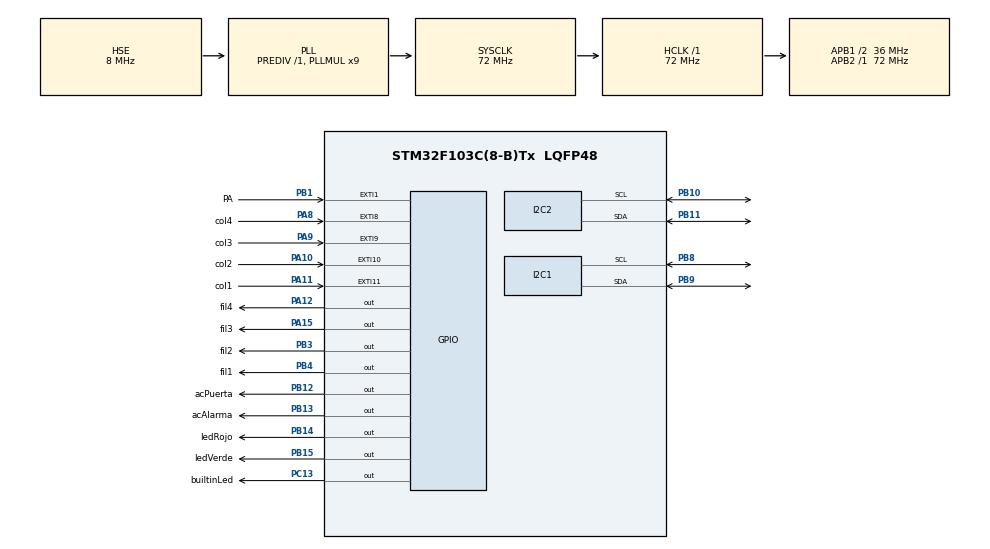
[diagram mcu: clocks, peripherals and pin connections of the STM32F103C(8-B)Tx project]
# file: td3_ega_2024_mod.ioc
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Mcu.Family=STM32F1
PB10.Mode=I2C
PA10.GPIO_PuPd=GPIO_PULLUP
PB14.GPIO_Label=ledRojo
NVIC.TIM1_UP_IRQn=true\:0\:0\:false\:false\:true\:false\:true
PA11.GPIO_PuPd=GPIO_PULLUP
PB13.GPIO_Label=acAlarma
PB11.Signal=I2C2_SDA
PB13.Signal=GPIO_Output
PB15.Signal=GPIO_Output
RCC.SYSCLKSource=RCC_SYSCLKSOURCE_PLLCLK
ProjectManager.StackSize=0x400
PD1-OSC_OUT.Signal=RCC_OSC_OUT
PA15.GPIO_Label=fil3
NVIC.EXTI1_IRQn=true\:8\:0\:true\:false\:true\:true\:true
PA12.Signal=GPIO_Output
PB3.PinState=GPIO_PIN_RESET
PB1.GPIO_PuPd=GPIO_PULLDOWN
RCC.HCLKFreq_Value=72000000
RCC.APB2TimFreq_Value=72000000
PB1.GPIO_ModeDefaultEXTI=GPIO_MODE_IT_FALLING
RCC.AHBFreq_Value=72000000
NVIC.EXTI15_10_IRQn=true\:8\:0\:true\:false\:true\:true\:true
PA12.PinState=GPIO_PIN_RESET
RCC.PLLMUL=RCC_PLL_MUL9
PB12.GPIO_Label=acPuerta
PA14.Mode=Serial_Wire
VP_SYS_VS_tim1.Mode=TIM1
PB1.GPIO_Label=PA
NVIC.TIM2_IRQn=true\:8\:0\:true\:false\:true\:true\:true
PA10.GPIO_Label=col2
PA8.Signal=GPXTI8
PB9.Signal=I2C1_SDA
Mcu.Package=LQFP48
TIM2.Prescaler=10000
PB1.Signal=GPXTI1
NVIC.TimeBase=TIM1_UP_IRQn
PA8.GPIO_ModeDefaultEXTI=GPIO_MODE_IT_FALLING
PA10.GPIO_ModeDefaultEXTI=GPIO_MODE_IT_FALLING
NVIC.TimeBaseIP=TIM1
PA10.Signal=GPXTI10
PA15.Signal=GPIO_Output
RCC.APB1TimFreq_Value=72000000
PB4.Signal=GPIO_Output
PB3.GPIO_Label=fil2
RCC.PLLSourceVirtual=RCC_PLLSOURCE_HSE
PD1-OSC_OUT.Mode=HSE-External-Oscillator
PA9.GPIO_Label=col3
PC13-TAMPER-RTC.Signal=GPIO_Output
PA11.GPIO_Label=col1
PD0-OSC_IN.Signal=RCC_OSC_IN
RCC.APB1CLKDivider=RCC_HCLK_DIV2
PA9.GPIO_PuPd=GPIO_PULLUP
PA12.GPIO_Label=fil4
RCC.ADCPresc=RCC_ADCPCLK2_DIV6
I2C2.OwnAddress=0x15
PA13.Signal=SYS_JTMS-SWDIO
PA8.GPIO_Label=col4
PB11.Mode=I2C
ProjectManager.TargetToolchain=STM32CubeIDE
PB9.Mode=I2C
PA9.Signal=GPXTI9
NVIC.I2C2_ER_IRQn=true\:8\:0\:true\:false\:true\:true\:true
RCC.USBFreq_Value=72000000
PB10.Signal=I2C2_SCL
PD0-OSC_IN.Mode=HSE-External-Oscillator
PB14.Signal=GPIO_Output
board=custom
PC13-TAMPER-RTC.GPIO_Label=builtinLed
PA15.PinState=GPIO_PIN_RESET
RCC.APB2Freq_Value=72000000
PB4.GPIO_Label=fil1
PB15.GPIO_Label=ledVerde
VP_TIM2_VS_ClockSourceINT.Mode=Internal
TIM2.Period=65000
PA13.Mode=Serial_Wire
Mcu.Name=STM32F103C(8-B)Tx
PB3.Signal=GPIO_Output
RCC.SYSCLKFreq_VALUE=72000000
PA11.Signal=GPXTI11
NVIC.EXTI9_5_IRQn=true\:8\:0\:true\:false\:true\:true\:true
PA14.Signal=SYS_JTCK-SWCLK
ProjectManager.HeapSize=0x200
NVIC.I2C2_EV_IRQn=true\:8\:0\:true\:false\:true\:true\:true
PA8.GPIO_PuPd=GPIO_PULLUP
NVIC.PriorityGroup=NVIC_PRIORITYGROUP_4
PB8.Mode=I2C
PA9.GPIO_ModeDefaultEXTI=GPIO_MODE_IT_FALLING
PB8.Signal=I2C1_SCL
PA11.GPIO_ModeDefaultEXTI=GPIO_MODE_IT_FALLING
RCC.APB1Freq_Value=36000000
PB12.Signal=GPIO_Output

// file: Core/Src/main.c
/* USER CODE BEGIN Header */
/* USER CODE END Header */
#include "main.h"

/* USER CODE BEGIN Includes */

#include "FreeRTOS.h"
#include "task.h"
#include "queue.h"
#include "semphr.h"

#include "liquidcrystal_i2c.h"
#include "FLASH_PAGE_F1.h"

#include <stdio.h>
#include <math.h>
#include <string.h>
#include "common.h"

#include <stdlib.h>
#include "menu.h"

#define EGB  //para habilitar las partes de código de la EGB, descomentar esta linea
//#define SONIDO_ACTIVADO

#ifdef EGB
#include "i2c_slave_bluepill.h"
#endif
/* USER CODE END Includes */

/* USER CODE BEGIN PD */
#ifdef EGB
#define MAX_VARIABLES	32
#define MAX_LOG_STRING	4
#define i2cFRAME_SIZE	22
#endif

#define prioridad_tMenu				1
#define prioridad_tTeclado			2
#define prioridad_tDisplay			1
#define prioridad_tFlash			2
#define prioridad_tControlAcceso	1
#define prioridad_tActuadores		3
#ifdef EGB
#define prioridad_tComextern		1
#define prioridad_tLedBlink			4
#endif

//el analisis de HighWaterMarks se hizo con el programa EGA
#define tMenu_STACK_SIZE					configMINIMAL_STACK_SIZE * 5 //con configMINIMAL_STACK_SIZE * 4 queda 71 libres
#define tTeclado_STACK_SIZE					configMINIMAL_STACK_SIZE  //con configMINIMAL_STACK_SIZE quedan 70 libres
#define tDisplay_STACK_SIZE					configMINIMAL_STACK_SIZE  //con configMINIMAL_STACK_SIZE quedan 33 libres
#define tFlash_STACK_SIZE					configMINIMAL_STACK_SIZE  //con configMINIMAL_STACK_SIZE queda 44 libres
#define tControlAcceso_STACK_SIZE			configMINIMAL_STACK_SIZE * 2  //con configMINIMAL_STACK_SIZE quedan 35 libres
#define tActuadores_STACK_SIZE				configMINIMAL_STACK_SIZE  //con configMINIMAL_STACK_SIZE quedan 85 libres
#ifdef EGB
#define tComextern_STACK_SIZE				configMINIMAL_STACK_SIZE * 5//configMINIMAL_STACK_SIZE
#define tLedBlink_STACK_SIZE				configMINIMAL_STACK_SIZE * 2
#endif

#define SIN_INTENTOS_DISP			0
#define CANT_MAX_INTENTOS			3
#define CANT_MAX_USUARIOS			11

#define	PAGE_ADDR_1					0x0801FC00
#define FLASH_BUFFER_SIZE 			32

/* USER CODE END PD */

I2C_HandleTypeDef hi2c1;
I2C_HandleTypeDef hi2c2;

TIM_HandleTypeDef htim2;

/* USER CODE BEGIN PV */
TaskHandle_t tMenu_h = NULL, tDisplay_h = NULL, tFlash_h = NULL, tTeclado_h = NULL, tControlAcceso_h = NULL
		, tActuadores_h = NULL;

#ifdef EGB
TaskHandle_t tComextern_h = NULL, tLedBlink_h = NULL;
QueueHandle_t actuador_aux_q, reqAcceso_aux_q, respAcceso_aux_q;
QueueHandle_t i2c_rx_q, i2c_tx_q = NULL;

typedef struct{
	uint8_t status;
	accion_t accion;
	uint8_t strLog[txBUFFER_SIZE];
}log_t;
#endif

QueueHandle_t columna_q, tecla_q, display_q, actuador_q, reqAcceso_q, respAcceso_q, flashcmd_q, flashdata_q;
SemaphoreHandle_t acAlarma_s = NULL, acPuerta_s = NULL, sensor_s = NULL;

//#ifdef EGB
//char com_tx_buffer[256];
//uint32_t buffer_index = 0;
//#endif

/* USER CODE END PV */

void SystemClock_Config(void);
static void MX_GPIO_Init(void);
static void MX_I2C1_Init(void);
static void MX_TIM2_Init(void);
static void MX_I2C2_Init(void);
/* USER CODE BEGIN PFP */
static void err (uint8_t errCode);
void display_Print(uint8_t accion, char *linea1, char *linea2);
//declaraciones de menu
void ME_conteo_digitos();
static void dummyDataMemoryRecording (void);

#ifdef EGB
static uint8_t parse_csv_to_struct(const char *input, usuario_t *usuario, actuador_t *actuador, log_t *log);
#endif

/* USER CODE END PFP */

/* USER CODE BEGIN 0 */
static void dummyDataMemoryRecording (void){
	uint32_t bufferAux[FLASH_BUFFER_SIZE];

	bufferAux[0] = 0;
	bufferAux[1] = 87654321;
	bufferAux[2] = 1;
	bufferAux[3] = 1111;

	for(uint32_t j = 2; j < (CANT_MAX_USUARIOS); j++){
		bufferAux[(2*j)] = j;
		bufferAux[(2*j)+1] = 0;
	}
	Flash_Write_Data(PAGE_ADDR_1, bufferAux, FLASH_BUFFER_SIZE);
}

void display_Print(uint8_t accion, char *linea1, char *linea2){
	display_t display;

	display.accion = accion;
	strcpy(display.linea1, linea1);
	strcpy(display.linea2, linea2);
	xQueueSend(display_q, &display, blockForever);
}

//menu----------------------------------------------------------------------------------------------------------------------------------------------------------------------

static void t_Menu (void *pvParameters){
	struct level claveUsuario1, claveUsuario2, claveUsuario3, claveUsuario4, claveUsuario5, claveUsuario6,
	 	 	 	 	 claveUsuario7, claveUsuario8, claveUsuario9, claveUsuario10,
					claveMaestra, agregarUsuario, borrarUsuario, resetFabrica, menu, *currentM;

	UBaseType_t uxHighWaterMark;
	uxHighWaterMark = uxTaskGetStackHighWaterMark( NULL );

	usuario_t usuario[CANT_MAX_USUARIOS];

	uint32_t i;
#ifdef EGB
	vTaskSuspend(tComextern_h);
#endif
	for(i = 0; i < CANT_MAX_USUARIOS; i++){
		usuario[i].clave = 0;
		usuario[i].nroUsuario = i;
		usuario[i].accion = SCANN;

		xQueueSendToBack(reqAcceso_q, &usuario[i], blockForever);
		xQueueReceive(respAcceso_q, &usuario[i], blockForever);
	}

#ifdef EGB
	xQueueReset(reqAcceso_aux_q);
	xQueueReset(respAcceso_aux_q);
	xQueueReset(actuador_aux_q);
	vTaskResume(tComextern_h);
#endif
	//BuildMenu(nodoActual, nroUsuario, imprimir1, imprimir2, funcCancelar, funcAceptar, nodoArriba, nodoAbajo, nodoMaestra, nodoCancelar, nodoAceptar, nodoMenu, lastMenu)

    MEN_BuildMenu(&claveUsuario1, 	USUARIO_1,	"USUARIO 1", ">>>", 	&claveUsuario10, &claveUsuario2, &claveMaestra, &claveUsuario1, 0, &menu, 0);
    MEN_BuildMenu(&claveUsuario2, 	USUARIO_2,	"USUARIO 2", ">>>", 	&claveUsuario1, &claveUsuario3, &claveMaestra, &claveUsuario1, 0, &menu, 0);
    MEN_BuildMenu(&claveUsuario3, 	USUARIO_3,	"USUARIO 3", ">>>", 	&claveUsuario2, &claveUsuario4, &claveMaestra, &claveUsuario1, 0, &menu, 0);
    MEN_BuildMenu(&claveUsuario4, 	USUARIO_4,	"USUARIO 4", ">>>", 	&claveUsuario3, &claveUsuario5, &claveMaestra, &claveUsuario1, 0, &menu, 0);
    MEN_BuildMenu(&claveUsuario5, 	USUARIO_5,	"USUARIO 5", ">>>", 	&claveUsuario4, &claveUsuario6, &claveMaestra, &claveUsuario1, 0, &menu, 0);
    MEN_BuildMenu(&claveUsuario6, 	USUARIO_6,	"USUARIO 6", ">>>", 	&claveUsuario5, &claveUsuario7, &claveMaestra, &claveUsuario1, 0, &menu, 0);
    MEN_BuildMenu(&claveUsuario7, 	USUARIO_7,	"USUARIO 7", ">>>", 	&claveUsuario6, &claveUsuario8, &claveMaestra, &claveUsuario1, 0, &menu, 0);
    MEN_BuildMenu(&claveUsuario8, 	USUARIO_8,	"USUARIO 8", ">>>", 	&claveUsuario7, &claveUsuario9, &claveMaestra, &claveUsuario1, 0, &menu, 0);
    MEN_BuildMenu(&claveUsuario9, 	USUARIO_9,	"USUARIO 9", ">>>", 	&claveUsuario8, &claveUsuario10, &claveMaestra, &claveUsuario1, 0, &menu, 0);
    MEN_BuildMenu(&claveUsuario10, USUARIO_10, "USUARIO 10", ">>>", 	&claveUsuario9, &claveUsuario1, &claveMaestra, &claveUsuario1, 0, &menu, 0);
    MEN_BuildMenu(&claveMaestra, 			0,"CLAVE MAESTRA", ">>>", 	0, 			   0, 			  0, &claveUsuario1, 0, &menu, 0);
    MEN_BuildMenu(&menu,		 			0,"MENU CONFIG.", "<<< >>>",&borrarUsuario, &agregarUsuario, 			  0, &claveUsuario1, 0, 	0, 0);
    MEN_BuildMenu(&agregarUsuario, 			11,"AGREGAR USUARIO", ">>>",&borrarUsuario, &borrarUsuario, 			  0, &claveUsuario1, 0, 	0, 0);
    MEN_BuildMenu(&borrarUsuario, 			12,"BORRAR USUARIO", ">>>",	&agregarUsuario, &agregarUsuario, 		  0, &claveUsuario1, 0, 	0, 0);
    MEN_BuildMenu(&resetFabrica, 			13,"RESET FABRICA", ">>>", 	&agregarUsuario, &borrarUsuario, 			  0, &claveUsuario1, 0, 	0, 0);

	char lcdStr[16] = ">>>";
	uint32_t claveIngresada = 0, contDig = 0;
	lcd_init(lcdSize);

    currentM = &claveUsuario1;
    MEN_Last(&currentM);
	display_Print(CLEAR_PRINT, currentM->row1, currentM->row2);

    tecla_t tecla;

	for(;;){
		xQueueReceive(tecla_q, &tecla, blockForever);
		switch(tecla.accion){
			case NUM:

				if(contDig < 8){
					claveIngresada += tecla.tecla * pow(10, contDig);
					contDig++;
					strcat(lcdStr,"*");
				}
				else
					display_Print(TEMPORARY_PRINTING, '\0', "ERROR 5");

				display_Print(PRINT, '\0', lcdStr);
				break;
			case ARRIBA:
				MEN_Prev(&currentM);
				if(usuario[currentM->userNo].accion == ACC_SIN_ASIGNAR)
					display_Print(CLEAR_PRINT, currentM->row1, "Sin asignar");
				else display_Print(CLEAR_PRINT, currentM->row1, currentM->row2);
				if(menu.privilege == MASTER)
					currentM->last = &borrarUsuario;
				reset_values();
				break;

			case ABAJO:
				MEN_Next(&currentM);
				if(usuario[currentM->userNo].accion == ACC_SIN_ASIGNAR)
					display_Print(CLEAR_PRINT, currentM->row1, "Sin asignar");
				else display_Print(CLEAR_PRINT, currentM->row1, currentM->row2);
				if(menu.privilege == MASTER)
					currentM->last = &borrarUsuario;
				reset_values();
				break;

			case MENU:
				MEN_Maestra(&currentM);
				currentM->last = &menu;
				display_Print(TEMPORARY_PRINTING, "MENU CONFIG.", 0);
				display_Print(CLEAR_PRINT, currentM->row1, currentM->row2);
				reset_values();
				break;

			case ACEPTAR:

				if((currentM == &claveUsuario1 || currentM == &claveUsuario2 || currentM == &claveUsuario3 || currentM == &claveUsuario4 || currentM == &claveMaestra) && menu.privilege == USER){
					if(currentM->userNo == 0){
						//clave maestra
						if(contDig != 8) display_Print(TEMPORARY_PRINTING, 0, "Error de digitos");
						else{
							//cantidad correcta de digitos
							usuario[currentM->userNo].clave = claveIngresada;
							usuario[currentM->userNo].accion = READ;

							xQueueSendToBack(reqAcceso_q, &usuario[currentM->userNo], blockForever);
#ifdef EGB
							xQueueSendToBack(reqAcceso_aux_q, &usuario[currentM->userNo], nonBlocking);
#endif
							xQueueReceive(respAcceso_q, &usuario[currentM->userNo], blockForever);
							reset_values();

							switch(usuario[currentM->userNo].accion){
								case ACC_OK:
									if(currentM->last == &menu){
										MEN_Menu(&currentM);
										display_Print(CLEAR_PRINT, currentM->row1, currentM->row2);

										menu.privilege = MASTER;
										agregarUsuario.state = 0;
										borrarUsuario.state = 0;
									}
									else{
										display_Print(TEMPORARY_PRINTING, 0, "Acceso maestro");
										//se abre la puerta por tiempo indefinido
										reset_values();
										currentM = &claveUsuario1;
										display_Print(CLEAR_PRINT, currentM->row1, currentM->row2);
									}
									break;
								case ACC_DENEGADO:
									display_Print(TEMPORARY_PRINTING, 0, "Acceso denegado");
									display_Print(CLEAR_PRINT, currentM->row1, currentM->row2);
									break;
								case ACC_ERROR:
									display_Print(TEMPORARY_PRINTING_10s, "Espere 10 seg", "Acceso denegado");
									vTaskDelay(sleep_10s);
									reset_values();
									display_Print(CLEAR_PRINT, currentM->row1, currentM->row2);
									break;

								default:
									break;
							}
						}
					}
					else{
						if(contDig != 4) display_Print(TEMPORARY_PRINTING, 0, "ERROR 3");
						else{
							//cantidad correcta de digitos
							usuario[currentM->userNo].clave = claveIngresada;
							usuario[currentM->userNo].accion = READ;

							xQueueSendToBack(reqAcceso_q, &usuario[currentM->userNo], blockForever);
#ifdef EGB
							xQueueSendToBack(reqAcceso_aux_q, &usuario[currentM->userNo], nonBlocking);
#endif
							xQueueReceive(respAcceso_q, &usuario[currentM->userNo], blockForever);
							reset_values();

							switch(usuario[currentM->userNo].accion){
								case ACC_OK:
									display_Print(TEMPORARY_PRINTING, 0, "Acceso permitido");
									vTaskDelay(sleep_2s);
									MEN_Last(&currentM);
									display_Print(CLEAR_PRINT, currentM->row1, currentM->row2);
									break;
								case ACC_DENEGADO:
									display_Print(TEMPORARY_PRINTING, 0, "Acceso denegado");
									display_Print(CLEAR_PRINT, currentM->row1, currentM->row2);
									break;
								case ACC_ERROR:

									break;
								default:
									break;
							}
						}
					}
				}
				else if(menu.privilege == MASTER){
					if(currentM == &agregarUsuario){
						switch(agregarUsuario.state){
						case 0:
							i = 1;
							while(usuario[i].accion != ACC_SIN_ASIGNAR){
								if(i < CANT_MAX_USUARIOS) i++;
								else {
									display_Print(TEMPORARY_PRINTING, 0, "Sin espacio");
									break;
								}
							}
							if(usuario[i].accion == ACC_SIN_ASIGNAR){
								sprintf(lcdStr, "Usuario %u libre", i);
								display_Print(TEMPORARY_PRINTING, 0, lcdStr);
								agregarUsuario.state = 1;
							}
							break;
						case 1:
							usuario[i].clave = claveIngresada;
							usuario[i].accion = WRITE;
							usuario[i].nroUsuario = i;

							xQueueSendToBack(reqAcceso_q, &usuario[i], blockForever);
							sprintf(lcdStr, "Usuario %u", i);
							display_Print(TEMPORARY_PRINTING, lcdStr, "Guardado");
						    currentM = &claveUsuario1;
							display_Print(CLEAR_PRINT, currentM->row1, currentM->row2);
							agregarUsuario.state = 0;
							menu.privilege = USER;
							break;
						}

					}
					else if(currentM == &borrarUsuario){
						currentM = &claveUsuario1;
						display_Print(CLEAR_PRINT, currentM->row1, currentM->row2);
						display_Print(TEMPORARY_PRINTING, currentM->row1, currentM->row2);
						borrarUsuario.state = 1;
					}
					else if(currentM->last == &borrarUsuario){
						usuario[currentM->userNo].clave = 0;
						usuario[currentM->userNo].accion = WRITE;

						xQueueSendToBack(reqAcceso_q, &usuario[currentM->userNo], blockForever);
#ifdef EGB
						xQueueSendToBack(reqAcceso_aux_q, &usuario[currentM->userNo], nonBlocking);
#endif
						usuario[currentM->userNo].accion = SCANN;

						xQueueSendToBack(reqAcceso_q, &usuario[currentM->userNo], blockForever);
#ifdef EGB
						xQueueSendToBack(reqAcceso_aux_q, &usuario[currentM->userNo], nonBlocking);
#endif
						xQueueReceive(respAcceso_q, &usuario[currentM->userNo], blockForever);

						if(usuario[currentM->userNo].accion == ACC_SIN_ASIGNAR){
							sprintf(lcdStr, "Usuario %u", currentM->userNo);
							display_Print(TEMPORARY_PRINTING, lcdStr, "Borrado");
						}
						else
							display_Print(TEMPORARY_PRINTING, 0, "Error en borrado");
					    currentM = &claveUsuario1;
						display_Print(CLEAR_PRINT, currentM->row1, currentM->row2);

						borrarUsuario.state = 0;
						menu.privilege = USER;
						MEN_Last(&currentM);
					}
				}
				reset_values();
				break;
			case CANCELAR:
				MEN_Cancelar(&currentM);
				reset_values();
				menu.privilege = USER;
				display_Print(CLEAR_PRINT, currentM->row1, currentM->row2);

				break;

			case MAESTRA:
				MEN_Maestra(&currentM);
				reset_values();
				menu.privilege = USER;
				display_Print(CLEAR_PRINT, currentM->row1, currentM->row2);
				break;
		}

		uxHighWaterMark = uxTaskGetStackHighWaterMark( NULL );
	}
}

//display----------------------------------------------------------------------------------------------------------------------------------------------------------------------

static void t_Display (void *pvParameters){
	display_t display;
	uint8_t lastRow1[16], lastRow2[16];

	UBaseType_t uxHighWaterMark;
	uxHighWaterMark = uxTaskGetStackHighWaterMark( NULL );

	for(;;){
		if(strcmp(display.linea1,"\0") != 0) strcpy(lastRow1, display.linea1);
		if(strcmp(display.linea2,"\0") != 0) strcpy(lastRow2, display.linea2);

		xQueueReceive(display_q, &display, blockForever);
		switch(display.accion){
			case PRINT:
				if(display.linea1 != 0){
					lcd_msgPrint(0, 0, display.linea1);
				}
				if(display.linea2 != 0){
					lcd_msgPrint(0, 1, display.linea2);
				}
				break;
			case TEMPORARY_PRINTING:
				lcd_clear();
				if(display.linea1 != 0){
					lcd_msgPrint(0, 0, display.linea1);
				}
				if(display.linea2 != 0){
					lcd_msgPrint(0, 1, display.linea2);
				}
				vTaskDelay(sleep_2s);
				lcd_clear();
				lcd_msgPrint(0, 0, lastRow1);
				lcd_msgPrint(0, 1, lastRow2);
				break;
			case TEMPORARY_PRINTING_10s:
				lcd_clear();
				if(display.linea1 != 0){
					lcd_msgPrint(0, 0, display.linea1);
				}
				if(display.linea2 != 0){
					lcd_msgPrint(0, 1, display.linea2);
				}
				vTaskDelay(sleep_10s);
				lcd_clear();
				lcd_msgPrint(0, 0, lastRow1);
				lcd_msgPrint(0, 1, lastRow2);
				break;
			case CLEAR:
				lcd_clear();
				break;
			case CLEAR_1:
				lcd_msgPrint(0, 0, "                ");
				break;
			case CLEAR_2:
				lcd_msgPrint(0, 1, "                ");
				break;
			case CLEAR_PRINT:
				lcd_clear();
				if(display.linea1 != 0){
					lcd_msgPrint(0, 0, display.linea1);
				}
				if(display.linea2 != 0){
					lcd_msgPrint(0, 1, display.linea2);
				}
				break;
			default:
				lcd_clear();
				lcd_msgPrint(0, 1, "ERROR 1");
				vTaskDelay(sleep_1s);
				lcd_clear();
				break;
		}
		uxHighWaterMark = uxTaskGetStackHighWaterMark( NULL );
	}
}

//flash----------------------------------------------------------------------------------------------------------------------------------------------------------------------

static void t_Flash (void *pvParameters){
	/*----------------------------------------------------------
	 * Estructura de momoria:
	 * en la memoria, los codigos y usuarios se almacenan como numeros en apalabras de 32 bits.
	 * Se intercala el numero de usuario con su codigo correspondiente, los indices pares (incluyendo 0) corresponden al numero de ussario
	 * y el siguiente indice impar es su codigo de acceso
	 *
	 *
	 * 0-user0 (master)
	 * 1-pass maestro
	 * 2-user1
	 * 3-pass1
	 * 4-user2
	 * 5-pass2
	 * etc...
	 *
	 * la cantidad de ususarios estara definida por el tamaño del buffer de la flash, definido por la constante FLASH_BUFFER_SIZE.
	 * la mitad de FLASH_BUFFER_SIZE sera el numero maximo de usuarios permitidos. FLASH_BUFFER_SIZE debe ser un numero par.
	 * el maximo teorico de usuarios pemitidos es 512 (la mitad del tamaño de una pagina de la memoria flash)
	 *
	 */

	uint32_t index = 0, nroUsuario;
	usuario_t value;
	uint32_t buffer[FLASH_BUFFER_SIZE];

	UBaseType_t uxHighWaterMark;
	uxHighWaterMark = uxTaskGetStackHighWaterMark( NULL );

	for(;;){
		xQueueReceive(flashcmd_q, &value, blockForever);
		switch(value.accion){
		case READ:		//lectura de un valor en particular
			index = (2 * (value.nroUsuario));							//se calcula el indice del usuario solicitado
			Flash_Read_Data(PAGE_ADDR_1, buffer, FLASH_BUFFER_SIZE);	//se realiza la lectura de la memoria

			value.nroUsuario = buffer[index];								//se asigna a la estructura el nro de usuario, si esta vacio se asigna "SIN_ASIGNAR"
			value.clave = buffer[index + 1];								//se asigna a la estructura de usuario la clave correspondiente

			xQueueSend(flashdata_q,&value,blockForever);

			break;
		case WRITE:		//escritura de un codigo nuevo en la memoria
			index = (value.nroUsuario)*2;
			nroUsuario = value.nroUsuario;
			Flash_Read_Data(PAGE_ADDR_1, buffer, FLASH_BUFFER_SIZE);

			buffer[index] = nroUsuario;				//se escrive el numero de usuario en el indice par
			buffer[index + 1] = value.clave;					//se escrive el codigo en el indice impar

			Flash_Write_Data(PAGE_ADDR_1, buffer, FLASH_BUFFER_SIZE);
			break;
		default:
			break;
		}
		uxHighWaterMark = uxTaskGetStackHighWaterMark( NULL );
	}
}

//control de acceso----------------------------------------------------------------------------------------------------------------------------------------------------------------------

static void t_ControlAcceso (void *pvParameters){
	usuario_t usuario[CANT_MAX_USUARIOS], usuarioAux;
	nroUsuario_t nroUsuario;
	actuador_t actuador;

	UBaseType_t uxHighWaterMark;
	uxHighWaterMark = uxTaskGetStackHighWaterMark( NULL );

	for(uint32_t i = 0; i < CANT_MAX_USUARIOS; i++){
		usuario[i].intentosDisp = CANT_MAX_INTENTOS;
	}

	for(;;){
		if(xQueueReceive(reqAcceso_q, &usuarioAux, blockForever) == pdPASS){

			nroUsuario = usuarioAux.nroUsuario;
			usuario[nroUsuario].nroUsuario = usuarioAux.nroUsuario;
			usuario[nroUsuario].clave = usuarioAux.clave;
			usuario[nroUsuario].accion = usuarioAux.accion;

			switch(usuario[nroUsuario].accion){
				case READ:
					if(nroUsuario == MAESTRO){
						usuario[nroUsuario].accion = READ;
						xQueueSend(flashcmd_q, &usuario[nroUsuario], blockForever);
						xQueueReceive(flashdata_q, &usuarioAux, blockForever);
						if(usuarioAux.clave == usuario[nroUsuario].clave){
							usuario[nroUsuario].accion = ACC_OK;

							actuador.tipo = PUERTA;
							actuador.accion = ACC_MASTER;

							for(uint32_t i = 0; i < CANT_MAX_USUARIOS; i++){
								usuario[i].intentosDisp = CANT_MAX_INTENTOS;
							}
						}
						else{
							usuario[nroUsuario].accion = ACC_ERROR;

						}
						xQueueSend(actuador_q, &actuador, blockForever);
#ifdef EGB
						xQueueSendToBack(actuador_aux_q, &actuador, nonBlocking);
#endif
						xQueueSendToBack(respAcceso_q, &usuario[nroUsuario], blockForever);
#ifdef EGB
						xQueueSendToBack(respAcceso_aux_q, &usuario[nroUsuario], nonBlocking);
#endif
					}
					else if(nroUsuario != MAESTRO && nroUsuario != SIN_ASIGNAR){

						if(usuario[nroUsuario].intentosDisp != SIN_INTENTOS_DISP){
							usuario[nroUsuario].accion = READ;
							xQueueSend(flashcmd_q, &usuario[nroUsuario], blockForever);
							xQueueReceive(flashdata_q, &usuarioAux, blockForever);

							if(usuarioAux.clave == usuario[nroUsuario].clave){
								usuario[nroUsuario].accion = ACC_OK;

								actuador.tipo = PUERTA;
								actuador.accion = ACC_OK;
								usuario[nroUsuario].intentosDisp = CANT_MAX_INTENTOS;

								xQueueSend(actuador_q, &actuador, blockForever);
#ifdef EGB
								xQueueSendToBack(actuador_aux_q, &actuador, nonBlocking);
#endif
							}
							else{
								usuario[nroUsuario].accion = ACC_DENEGADO;
								usuario[nroUsuario].intentosDisp--;
								if(usuario[nroUsuario].intentosDisp == SIN_INTENTOS_DISP){
									actuador.tipo = PUERTA;
									actuador.accion = ACC_DENEGADO;

									xQueueSend(actuador_q, &actuador, nonBlocking);
#ifdef EGB
									xQueueSendToBack(actuador_aux_q, &actuador, nonBlocking);
#endif
								}
							}
							xQueueSendToBack(respAcceso_q, &usuario[nroUsuario], blockForever);
#ifdef EGB
							xQueueSendToBack(respAcceso_aux_q, &usuario[nroUsuario], nonBlocking);
#endif
						}

						else{
							usuario[nroUsuario].accion = ACC_DENEGADO;
							actuador.tipo = PUERTA;
							actuador.accion = ACC_DENEGADO;

							xQueueSend(actuador_q, &actuador, nonBlocking);
#ifdef EGB
							xQueueSendToBack(actuador_aux_q, &actuador, nonBlocking);
#endif
							xQueueSendToBack(respAcceso_q, &usuario[nroUsuario], blockForever);
#ifdef EGB
							xQueueSendToBack(respAcceso_aux_q, &usuario[nroUsuario], nonBlocking);
#endif
						}
					}
					else{

					}
					break;
				case WRITE:
					xQueueSend(flashcmd_q, &usuario[nroUsuario], blockForever);
					break;
				case SCANN:
					usuario[nroUsuario].accion = READ;
					xQueueSend(flashcmd_q, &usuario[nroUsuario], blockForever);
					xQueueReceive(flashdata_q, &usuarioAux, blockForever);
					if(usuarioAux.clave == 0)
						usuario[nroUsuario].accion = ACC_SIN_ASIGNAR;
					else
						usuario[nroUsuario].accion = ACC_ASIGNADO;
					xQueueSendToBack(respAcceso_q, &usuario[nroUsuario], blockForever);
#ifdef EGB
					xQueueSendToBack(respAcceso_aux_q, &usuario[nroUsuario], nonBlocking);
#endif
					break;
				default:
					break;
			}
		}
		uxHighWaterMark = uxTaskGetStackHighWaterMark( NULL );
	}
}

//actuadores----------------------------------------------------------------------------------------------------------------------------------------------------------------------

static void t_Actuadores (void *pvParameters){
	actuador_t actuador;
	accion_t acceso = ACC_DENEGADO;

	UBaseType_t uxHighWaterMark;
	uxHighWaterMark = uxTaskGetStackHighWaterMark( NULL );

	for(;;){
		xQueueReceive(actuador_q, &actuador, blockForever);
		if(actuador.tipo == PUERTA){
			switch (actuador.accion){
				case ACC_OK:
					acceso = ACC_OK;
					hal_digitalOutput(LOW, ledVerde);
					hal_digitalOutput(HIGH, acPuerta);
					vTaskDelay(sleep_10s);
					if(hal_digitalInput(PA) == LOW){
						hal_digitalOutput(LOW, ledRojo);
#ifdef SONIDO_ACTIVADO
						hal_digitalOutput(HIGH, acAlarma);
#endif
					}
					else{
						hal_digitalOutput(HIGH, ledVerde);
						hal_digitalOutput(LOW, acPuerta);
					}
					acceso = ACC_DENEGADO;
					break;
				case ACC_DENEGADO:
					acceso = ACC_DENEGADO;
					hal_digitalOutput(LOW, ledRojo);
#ifdef SONIDO_ACTIVADO
					hal_digitalOutput(HIGH, acAlarma);
#endif
//					vTaskDelay(sleep_10s);
//					hal_digitalOutput(HIGH, ledRojo);
//					hal_digitalOutput(LOW, acAlarma);
					break;
				case ACC_MASTER:
					acceso = ACC_OK;
					hal_digitalOutput(HIGH, ledRojo);
					hal_digitalOutput(LOW, acAlarma);
					hal_digitalOutput(LOW, ledVerde);
					hal_digitalOutput(HIGH, acPuerta);
//					vTaskDelay(sleep_10s);
//					if(hal_digitalInput(PA) == LOW){
//						hal_digitalOutput(LOW, ledRojo);
//						hal_digitalOutput(HIGH, acAlarma);
//					}
//					else{
//						hal_digitalOutput(HIGH, ledVerde);
//						hal_digitalOutput(LOW, acPuerta);
//					}
					break;
				case CAMBIO_ESTADO:
					vTaskDelay(sleep_100ms);
					if(hal_digitalInput(PA) == LOW){
						if(acceso == ACC_DENEGADO){
							hal_digitalOutput(LOW, ledRojo);
#ifdef SONIDO_ACTIVADO
							hal_digitalOutput(HIGH, acAlarma);
#endif
						}
					}
					else{
						if(acceso == ACC_OK){
							acceso = ACC_DENEGADO;
							hal_digitalOutput(HIGH, ledRojo);
							hal_digitalOutput(LOW, acAlarma);
							hal_digitalOutput(HIGH, ledVerde);

						}
					}
					break;
				default:
					break;
			}
		}
		uxHighWaterMark = uxTaskGetStackHighWaterMark( NULL );
	}
}

//teclado----------------------------------------------------------------------------------------------------------------------------------------------------------------------

static void t_Teclado (void *pvParameters){
	columna_t columna;
	fila_t fila;
	tecla_t tecla;
	uint8_t teclado[4][4] = {{1,4,7,MENU},{2,5,8,0},{3,6,9,ACEPTAR},{MAESTRA,ARRIBA,ABAJO,CANCELAR}};

	UBaseType_t uxHighWaterMark;
	uxHighWaterMark = uxTaskGetStackHighWaterMark( NULL );

	hal_digitalOutput(LOW, fil1);
	hal_digitalOutput(LOW, fil2);
	hal_digitalOutput(LOW, fil3);
	hal_digitalOutput(LOW, fil4);

	for(;;){
		xQueueReceive(columna_q, &columna, blockForever);

		hal_digitalOutput(HIGH, fil1);
		hal_digitalOutput(HIGH, fil2);
		hal_digitalOutput(HIGH, fil3);
		hal_digitalOutput(HIGH, fil4);

		hal_digitalOutput(LOW, fil1);
		if(xQueueReceive(columna_q, &columna, nonBlocking) == pdPASS){
			fila = FILA_1;
		}
		hal_digitalOutput(HIGH, fil1);

		hal_digitalOutput(LOW, fil2);
		if(xQueueReceive(columna_q, &columna, nonBlocking) == pdPASS){
			fila = FILA_2;
		}
		hal_digitalOutput(HIGH, fil2);

		hal_digitalOutput(LOW, fil3);
		if(xQueueReceive(columna_q, &columna, nonBlocking) == pdPASS){
			fila = FILA_3;
		}
		hal_digitalOutput(HIGH, fil3);

		hal_digitalOutput(LOW, fil4);
		if(xQueueReceive(columna_q, &columna, nonBlocking) == pdPASS){
			fila = FILA_4;
		}
		hal_digitalOutput(HIGH, fil4);

		tecla.tecla = teclado[columna][fila];
		if(tecla.tecla < 10) tecla.accion = NUM;
		else tecla.accion = tecla.tecla;

		xQueueSendToBack(tecla_q, &tecla, blockForever);

		vTaskDelay(sleep_500ms);
		xQueueReset(columna_q);
		hal_digitalOutput(LOW, fil1);
		hal_digitalOutput(LOW, fil2);
		hal_digitalOutput(LOW, fil3);
		hal_digitalOutput(LOW, fil4);

		uxHighWaterMark = uxTaskGetStackHighWaterMark( NULL );

	}
}

#ifdef EGB
//comunicaccion externa----------------------------------------------------------------------------------------------------------------------------------------------------------------------
static uint8_t parse_csv_to_struct(const char *input, usuario_t *usuario, actuador_t *actuador, log_t *log){
    uint8_t identificator;
	char buffer[rxBUFFER_SIZE]; // Buffer para manipular el string de entrada
    strncpy(buffer, input, sizeof(buffer) - 1);
    buffer[sizeof(buffer) - 1] = '\0'; // Asegurar terminación nula

    char *token = strtok(buffer, ",");
    size_t index = 0;
    uint32_t n, invertido = 0;

    //00(idglobal),p(identificador),1(user),1111(password),0(nroIntentos),0(accion_t),$
    //00(idglobal),a(identificador),1(tipo),xxxx(relleno),0(accion),0(accion_anterior),$

    //idglobal lo descarto
    token = strtok(NULL, ",");
    identificator = buffer[3];
    if(identificator == 'l'){
    	//log->accion = atoi(buffer[16]);
    	if(buffer[16] == '2')
    		log->accion = SCANN;
    	else if(buffer[16] == '0')
    		log->accion = READ;
    }
    else if(identificator == 'p'){
        token = strtok(NULL, ",");
        usuario->nroUsuario = atoi(token);
        token = strtok(NULL, ",");
        usuario->clave = atoi(token);
        token = strtok(NULL, ",");
        usuario->intentosDisp = atoi(token);
        token = strtok(NULL, ",");
        usuario->accion = atoi(token);
        usuario->id = 0;

//		inversion de clave
//        n = usuario->clave;
//        while(n != 0){
//            int digito = n % 10;
//            invertido = invertido * 10 + digito;
//            n = n / 10;
//        }
//        usuario->clave = invertido;
    }
    else if(identificator == 'a'){
        token = strtok(NULL, ",");
        actuador->tipo = atoi(token);
        token = strtok(NULL, ",");
        //descarto bytes relleno
        token = strtok(NULL, ",");
        actuador->accion = atoi(token);
        token = strtok(NULL, ",");
        actuador->anterior = atoi(token);
        actuador->id = 0;
    }

    return identificator;
}

void i2c_slave_rx_process(uint8_t* data, uint16_t size) {
	BaseType_t xHigherPriorityTaskWoken = pdFALSE;
	uint8_t dataBuf[rxBUFFER_SIZE];
	strcpy(dataBuf, data);

	xQueueSendFromISR(i2c_rx_q, &dataBuf, &xHigherPriorityTaskWoken);

	//i2c_set_txBuffer((uint8_t *) MSG, strlen(MSG));

	portYIELD_FROM_ISR(xHigherPriorityTaskWoken);
}

//uint8_t datalog (log_t log, uint8_t *str, size_t strSize){
//	if(log->status < 4){
//		memcpy(log->strLog, str, strSize);
//	}
//}
void dataLog(log_t *log, const uint8_t *str) {

    size_t longitudActual = strlen((const char *)log->strLog);
    size_t longitudNueva = strlen((const char *)str);

    if (longitudActual + longitudNueva < txBUFFER_SIZE) {
		strcat((char *)log->strLog, (const char *)str);
		log->status++;
    }
    else{
    }
}
/*
 *tarea para la comunicacion con la raspberry
 */
static void t_Comextern (void *pvParameters){

	UBaseType_t uxHighWaterMark;
	uxHighWaterMark = uxTaskGetStackHighWaterMark( NULL );

	actuador_t aux_actuador, i2c_rx_actuador;
	usuario_t aux_usuario, i2c_rx_usuario;
	uint8_t identificator = 0;
	log_t log = {0, WRITE, ""};
	uint8_t log_flag = 0, count = 0;
	char *log_token;

	char aux_str[16];
	uint8_t i2c_rx_buf[rxBUFFER_SIZE];
	uint8_t i2c_tx_buf[txBUFFER_SIZE];

	uint8_t globalID = 1;

	while(1){
//*limitar cantidad de logs
//*corregir id global
//*que tarea menu funcione bien

		if(xQueueReceive(i2c_rx_q, &i2c_rx_buf, nonBlocking) == pdTRUE){

			//trama usuario -> 00(idglobal),p(identificador),1(user),xxxx1111(password),0(nroIntentos),00(accion_t),$
			//trama maestra -> 00(idglobal),p(identificador),0(maestro),12345678,0(password),0(nroIntentos,00(accion_t),$
			//trama actuador -> 00(idglobal),a(identificador),1(tipo),xxxx(relleno),0(accion),00(accion_anterior),$
			//pedido de log -> 00(idglobal),l(identificador),x(relleno),xxxxxxxx(relleno),x(relleno),xx(relleno),$

			identificator = parse_csv_to_struct(i2c_rx_buf, &i2c_rx_usuario, &i2c_rx_actuador, &log);

			if(identificator == 'l'){
				if(log.accion == SCANN){
					if(log.status != 0)
						log.accion = ACC_OK;
					else
						log.accion = ACC_DENEGADO;

					snprintf(i2c_tx_buf, txBUFFER_SIZE, "00,l,x,xxxxxxxx,%01d,%02d,$", log.accion, log.status);
					//xQueueSendToBack(i2c_tx_q, &i2c_tx_buf, nonBlocking);
					i2c_set_txBuffer(i2c_tx_buf, strlen(i2c_tx_buf));
				}
				else if(log.accion == READ && log.status > 0){
					memset(i2c_tx_buf, '\0', i2cFRAME_SIZE);
					memcpy(i2c_tx_buf, log.strLog+(count * i2cFRAME_SIZE), i2cFRAME_SIZE);

					//xQueueSendToBack(i2c_tx_q, &i2c_tx_buf, nonBlocking);
		    		i2c_set_txBuffer(i2c_tx_buf, strlen(i2c_tx_buf));
		    		log.status--;
		    		count++;
		    		if(log.status == 0){
						count = 0;
						memset(log.strLog, '\0', txBUFFER_SIZE);
		    		}
		    	}
		    	log.accion = WRITE;
			}
			else if(identificator == 'p'){
				//display_Print(TEMPORARY_PRINTING, "CONEXION REMOTA", 0);
				xQueueSendToBack(reqAcceso_q, &i2c_rx_usuario, blockForever);
			}
			else{
				//error de identificador
			}

		}
		if(uxQueueMessagesWaiting(respAcceso_aux_q)){
			xQueueReceive(respAcceso_aux_q, &aux_usuario, blockForever);

			aux_usuario.id = globalID++;
			snprintf(i2c_tx_buf, txBUFFER_SIZE, "%02d,r,%01d,%08d,%01d,%02d,$", aux_usuario.id, aux_usuario.nroUsuario, aux_usuario.clave, aux_usuario.intentosDisp, aux_usuario.accion);
			if(identificator == 'p')
				i2c_set_txBuffer(i2c_tx_buf, strlen(i2c_tx_buf));

			dataLog(&log, (uint8_t *)i2c_tx_buf);

			identificator = 't';
			portYIELD();
			xQueueReset(respAcceso_q);
		}
		if(uxQueueMessagesWaiting(reqAcceso_aux_q)){
			xQueueReceive(reqAcceso_aux_q, &aux_usuario, blockForever);

			aux_usuario.id = globalID++;
			snprintf(i2c_tx_buf, txBUFFER_SIZE, "%02d,p,%01d,%08d,%01d,%02d,$", aux_usuario.id, aux_usuario.nroUsuario, aux_usuario.clave, aux_usuario.intentosDisp, aux_usuario.accion);

			dataLog(&log, (uint8_t *)i2c_tx_buf);
		}
		if(uxQueueMessagesWaiting(actuador_aux_q)){
			xQueueReceive(actuador_aux_q, &aux_actuador, blockForever);

			aux_actuador.id = globalID++;
			snprintf(i2c_tx_buf, txBUFFER_SIZE, "%02d,a,%01d,xxxxxxxx,0,%02d,$", aux_actuador.id, aux_actuador.tipo, aux_actuador.accion);

			dataLog(&log, (uint8_t *)i2c_tx_buf);
		}
		if(globalID > 99) globalID = 0;
	}
}

static void t_LedBlink (void *pvParameters){
	uint8_t aux_rx_buf[rxBUFFER_SIZE], aux_tx_buf[txBUFFER_SIZE], aux_cat_buf[txBUFFER_SIZE];
	memset(aux_rx_buf, '\0', rxBUFFER_SIZE);
	memcpy(aux_rx_buf, "00,p,1,11110000,0,0,$", 21);
	memset(aux_tx_buf, '\0', txBUFFER_SIZE);
	usuario_t i2c_tx_usuario;
	log_t rx_log;
	uint8_t i, imax;

	for(;;){
		for(int a = 0; a < 1; a++){
			hal_toggleOutput(builtinLed);
			vTaskDelay(sleep_3s);
			xQueueSendToBack(i2c_rx_q, &aux_rx_buf, nonBlocking);
		}

		//SCANN
		memset(aux_rx_buf, '\0', rxBUFFER_SIZE);
		memcpy(aux_rx_buf, "00,l,x,xxxxxxxx,2,0,$", i2cFRAME_SIZE);
		vTaskDelay(sleep_1s);
		xQueueSendToBack(i2c_rx_q, &aux_rx_buf, nonBlocking);

		xQueueReceive(i2c_tx_q, &aux_tx_buf, blockForever);
		//parse_csv_to_struct(aux_tx_buf, 0, 0, &rx_log);
		imax = aux_tx_buf[19] - '0';
		//READ
		memset(aux_cat_buf, '\0', rxBUFFER_SIZE);
		for(i = 0; i < imax; i++){
			memset(aux_rx_buf, '\0', rxBUFFER_SIZE);
			memcpy(aux_rx_buf, "00,l,x,xxxxxxxx,0,0,$", i2cFRAME_SIZE);
			vTaskDelay(sleep_1s);
			xQueueSendToBack(i2c_rx_q, &aux_rx_buf, nonBlocking);
			xQueueReceive(i2c_tx_q, &aux_tx_buf, blockForever);

		}

		for(int a = 0; a < 2; a++){
			hal_toggleOutput(builtinLed);
			vTaskDelay(sleep_3s);
			xQueueSendToBack(i2c_rx_q, &aux_rx_buf, nonBlocking);
		}

		//SCANN
		memset(aux_rx_buf, '\0', rxBUFFER_SIZE);
		memcpy(aux_rx_buf, "00,l,x,xxxxxxxx,2,0,$", i2cFRAME_SIZE);
		vTaskDelay(sleep_1s);
		xQueueSendToBack(i2c_rx_q, &aux_rx_buf, nonBlocking);

		xQueueReceive(i2c_tx_q, &aux_tx_buf, blockForever);
		//parse_csv_to_struct(aux_tx_buf, 0, 0, &rx_log);
		imax = aux_tx_buf[19] - '0';
		//READ
		memset(aux_cat_buf, '\0', rxBUFFER_SIZE);
		for(i = 0; i < imax; i++){
			memset(aux_rx_buf, '\0', rxBUFFER_SIZE);
			memcpy(aux_rx_buf, "00,l,x,xxxxxxxx,0,0,$", i2cFRAME_SIZE);
			vTaskDelay(sleep_1s);
			xQueueSendToBack(i2c_rx_q, &aux_rx_buf, nonBlocking);
			xQueueReceive(i2c_tx_q, &aux_tx_buf, blockForever);

		}
		vTaskSuspend(NULL);
	}
}
#endif

//Debugging function
static void err (uint8_t errCode){
	while(1);
}

//ISR
void  HAL_GPIO_EXTI_Callback(uint16_t GPIO_Pin)
{
	columna_t columna;
	actuador_t actuador;
	BaseType_t xHigherPriorityTaskWoken = pdFALSE;

	if(GPIO_Pin != PA_Pin){
		switch(GPIO_Pin){
			case col1_Pin:
				columna = COLUMNA_1;
				break;
			case col2_Pin:
				columna = COLUMNA_2;
				break;
			case col3_Pin:
				columna = COLUMNA_3;
				break;
			case col4_Pin:
				columna = COLUMNA_4;
				break;
		}
		xQueueSendFromISR(columna_q, &columna, &xHigherPriorityTaskWoken);
	}
	else{
		actuador.tipo = PUERTA;
		actuador.accion = CAMBIO_ESTADO;
		xQueueSendFromISR(actuador_q, &actuador, &xHigherPriorityTaskWoken);
	}
	portYIELD_FROM_ISR(xHigherPriorityTaskWoken);
}

/* USER CODE END 0 */

int main(void)
{
  /* USER CODE BEGIN 1 */
	columna_t columna;
	tecla_t tecla;
	display_t display;
	actuador_t actuador;
	usuario_t usuario;
#ifdef EGB
	log_t log;
#endif
  /* USER CODE END 1 */

  /* MCU Configuration--------------------------------------------------------*/

  /* Reset of all peripherals, Initializes the Flash interface and the Systick. */
  HAL_Init();

  /* Configure the system clock */
  SystemClock_Config();

  /* Initialize all configured peripherals */
  MX_GPIO_Init();
  MX_I2C1_Init();
  MX_TIM2_Init();
  MX_I2C2_Init();
  /* USER CODE BEGIN 2 */
#ifdef EGB
  i2c_start_listen_check(&hi2c2);
#endif
  /* USER CODE END 2 */

  /* Infinite loop */

    /* USER CODE BEGIN 3 */

  hal_digitalOutput(LOW, acAlarma);
  hal_digitalOutput(LOW, acPuerta);
  hal_digitalOutput(HIGH, ledRojo);
  hal_digitalOutput(HIGH, ledVerde);
  //dummyDataMemoryRecording();

  hal_digitalOutput(HIGH,builtinLed);

  columna_q = xQueueCreate(1, sizeof(columna));
  tecla_q = xQueueCreate(1, sizeof(tecla));
  display_q = xQueueCreate(2,sizeof(display));
  actuador_q = xQueueCreate(1, sizeof(actuador));
  reqAcceso_q = xQueueCreate(1, sizeof(usuario));
  respAcceso_q = xQueueCreate(1, sizeof(usuario));
  flashcmd_q = xQueueCreate(1,sizeof(usuario));
  flashdata_q = xQueueCreate(1,sizeof(usuario));

#ifdef EGB
  actuador_aux_q = xQueueCreate(1, sizeof(actuador));
  reqAcceso_aux_q = xQueueCreate(1, sizeof(usuario));
  respAcceso_aux_q = xQueueCreate(1, sizeof(usuario));

  //log_q = xQueueCreate(4, sizeof(log_t));

  i2c_rx_q = xQueueCreate(1, rxBUFFER_SIZE);
  i2c_tx_q = xQueueCreate(1, txBUFFER_SIZE);

#endif

  if(xTaskCreate(t_Menu, "", tMenu_STACK_SIZE, NULL, tskIDLE_PRIORITY + prioridad_tMenu, &tMenu_h) != pdPASS)
	  err(0);
  if(xTaskCreate(t_Teclado, "", tTeclado_STACK_SIZE, NULL, tskIDLE_PRIORITY + prioridad_tTeclado, &tTeclado_h) != pdPASS)
	  err(1);
  if(xTaskCreate(t_Display, "", tDisplay_STACK_SIZE, NULL, tskIDLE_PRIORITY + prioridad_tDisplay, &tDisplay_h) != pdPASS)
	  err(2);
  if(xTaskCreate(t_Flash, "", tFlash_STACK_SIZE, NULL, tskIDLE_PRIORITY + prioridad_tFlash, &tFlash_h) != pdPASS)
	  err(3);
  if(xTaskCreate(t_ControlAcceso, "", tControlAcceso_STACK_SIZE, NULL, tskIDLE_PRIORITY + prioridad_tControlAcceso, &tControlAcceso_h) != pdPASS)
	  err(4);
  if(xTaskCreate(t_Actuadores, "", tActuadores_STACK_SIZE, NULL, tskIDLE_PRIORITY + prioridad_tActuadores, &tActuadores_h) != pdPASS)
	  err(5);
#ifdef EGB
  if(xTaskCreate(t_Comextern, "", tComextern_STACK_SIZE, NULL, tskIDLE_PRIORITY + prioridad_tComextern, &tComextern_h) != pdPASS)
  	  err(6);
//  if(xTaskCreate(t_LedBlink, "", tLedBlink_STACK_SIZE, NULL, tskIDLE_PRIORITY + prioridad_tLedBlink, &tLedBlink_h) != pdPASS)
//  	  err(7);
#endif
  vTaskStartScheduler();

  /* USER CODE END 3 */
}

void SystemClock_Config(void)
{
  RCC_OscInitTypeDef RCC_OscInitStruct = {0};
  RCC_ClkInitTypeDef RCC_ClkInitStruct = {0};

  /** Initializes the RCC Oscillators according to the specified parameters
  * in the RCC_OscInitTypeDef structure.
  */
  RCC_OscInitStruct.OscillatorType = RCC_OSCILLATORTYPE_HSE;
  RCC_OscInitStruct.HSEState = RCC_HSE_ON;
  RCC_OscInitStruct.HSEPredivValue = RCC_HSE_PREDIV_DIV1;
  RCC_OscInitStruct.HSIState = RCC_HSI_ON;
  RCC_OscInitStruct.PLL.PLLState = RCC_PLL_ON;
  RCC_OscInitStruct.PLL.PLLSource = RCC_PLLSOURCE_HSE;
  RCC_OscInitStruct.PLL.PLLMUL = RCC_PLL_MUL9;
  if (HAL_RCC_OscConfig(&RCC_OscInitStruct) != HAL_OK)
  {
    Error_Handler();
  }
  /** Initializes the CPU, AHB and APB buses clocks
  */
  RCC_ClkInitStruct.ClockType = RCC_CLOCKTYPE_HCLK|RCC_CLOCKTYPE_SYSCLK
                              |RCC_CLOCKTYPE_PCLK1|RCC_CLOCKTYPE_PCLK2;
  RCC_ClkInitStruct.SYSCLKSource = RCC_SYSCLKSOURCE_PLLCLK;
  RCC_ClkInitStruct.AHBCLKDivider = RCC_SYSCLK_DIV1;
  RCC_ClkInitStruct.APB1CLKDivider = RCC_HCLK_DIV2;
  RCC_ClkInitStruct.APB2CLKDivider = RCC_HCLK_DIV1;

  if (HAL_RCC_ClockConfig(&RCC_ClkInitStruct, FLASH_LATENCY_2) != HAL_OK)
  {
    Error_Handler();
  }
}

static void MX_I2C1_Init(void)
{

  hi2c1.Instance = I2C1;
  hi2c1.Init.ClockSpeed = 100000;
  hi2c1.Init.DutyCycle = I2C_DUTYCYCLE_2;
  hi2c1.Init.OwnAddress1 = 0;
  hi2c1.Init.AddressingMode = I2C_ADDRESSINGMODE_7BIT;
  hi2c1.Init.DualAddressMode = I2C_DUALADDRESS_DISABLE;
  hi2c1.Init.OwnAddress2 = 0;
  hi2c1.Init.GeneralCallMode = I2C_GENERALCALL_DISABLE;
  hi2c1.Init.NoStretchMode = I2C_NOSTRETCH_DISABLE;
  if (HAL_I2C_Init(&hi2c1) != HAL_OK)
  {
    Error_Handler();
  }

}

static void MX_I2C2_Init(void)
{

  hi2c2.Instance = I2C2;
  hi2c2.Init.ClockSpeed = 100000;
  hi2c2.Init.DutyCycle = I2C_DUTYCYCLE_2;
  hi2c2.Init.OwnAddress1 = 42;
  hi2c2.Init.AddressingMode = I2C_ADDRESSINGMODE_7BIT;
  hi2c2.Init.DualAddressMode = I2C_DUALADDRESS_DISABLE;
  hi2c2.Init.OwnAddress2 = 0;
  hi2c2.Init.GeneralCallMode = I2C_GENERALCALL_DISABLE;
  hi2c2.Init.NoStretchMode = I2C_NOSTRETCH_DISABLE;
  if (HAL_I2C_Init(&hi2c2) != HAL_OK)
  {
    Error_Handler();
  }

}

static void MX_TIM2_Init(void)
{

  TIM_ClockConfigTypeDef sClockSourceConfig = {0};
  TIM_MasterConfigTypeDef sMasterConfig = {0};

  htim2.Instance = TIM2;
  htim2.Init.Prescaler = 10000;
  htim2.Init.CounterMode = TIM_COUNTERMODE_UP;
  htim2.Init.Period = 65000;
  htim2.Init.ClockDivision = TIM_CLOCKDIVISION_DIV1;
  htim2.Init.AutoReloadPreload = TIM_AUTORELOAD_PRELOAD_DISABLE;
  if (HAL_TIM_Base_Init(&htim2) != HAL_OK)
  {
    Error_Handler();
  }
  sClockSourceConfig.ClockSource = TIM_CLOCKSOURCE_INTERNAL;
  if (HAL_TIM_ConfigClockSource(&htim2, &sClockSourceConfig) != HAL_OK)
  {
    Error_Handler();
  }
  sMasterConfig.MasterOutputTrigger = TIM_TRGO_RESET;
  sMasterConfig.MasterSlaveMode = TIM_MASTERSLAVEMODE_DISABLE;
  if (HAL_TIMEx_MasterConfigSynchronization(&htim2, &sMasterConfig) != HAL_OK)
  {
    Error_Handler();
  }

}

static void MX_GPIO_Init(void)
{
  GPIO_InitTypeDef GPIO_InitStruct = {0};

  /* GPIO Ports Clock Enable */
  __HAL_RCC_GPIOC_CLK_ENABLE();
  __HAL_RCC_GPIOD_CLK_ENABLE();
  __HAL_RCC_GPIOB_CLK_ENABLE();
  __HAL_RCC_GPIOA_CLK_ENABLE();

  /*Configure GPIO pin Output Level */
  HAL_GPIO_WritePin(builtinLed_GPIO_Port, builtinLed_Pin, GPIO_PIN_RESET);

  /*Configure GPIO pin Output Level */
  HAL_GPIO_WritePin(GPIOB, acPuerta_Pin|acAlarma_Pin|ledRojo_Pin|ledVerde_Pin
                          |fil2_Pin|fil1_Pin, GPIO_PIN_RESET);

  /*Configure GPIO pin Output Level */
  HAL_GPIO_WritePin(GPIOA, fil4_Pin|fil3_Pin, GPIO_PIN_RESET);

  /*Configure GPIO pin : builtinLed_Pin */
  GPIO_InitStruct.Pin = builtinLed_Pin;
  GPIO_InitStruct.Mode = GPIO_MODE_OUTPUT_PP;
  GPIO_InitStruct.Pull = GPIO_NOPULL;
  GPIO_InitStruct.Speed = GPIO_SPEED_FREQ_LOW;
  HAL_GPIO_Init(builtinLed_GPIO_Port, &GPIO_InitStruct);

  /*Configure GPIO pin : PA_Pin */
  GPIO_InitStruct.Pin = PA_Pin;
  GPIO_InitStruct.Mode = GPIO_MODE_IT_FALLING;
  GPIO_InitStruct.Pull = GPIO_PULLDOWN;
  HAL_GPIO_Init(PA_GPIO_Port, &GPIO_InitStruct);

  /*Configure GPIO pins : acPuerta_Pin acAlarma_Pin ledRojo_Pin ledVerde_Pin
                           fil2_Pin fil1_Pin */
  GPIO_InitStruct.Pin = acPuerta_Pin|acAlarma_Pin|ledRojo_Pin|ledVerde_Pin
                          |fil2_Pin|fil1_Pin;
  GPIO_InitStruct.Mode = GPIO_MODE_OUTPUT_PP;
  GPIO_InitStruct.Pull = GPIO_NOPULL;
  GPIO_InitStruct.Speed = GPIO_SPEED_FREQ_LOW;
  HAL_GPIO_Init(GPIOB, &GPIO_InitStruct);

  /*Configure GPIO pins : col4_Pin col3_Pin col2_Pin col1_Pin */
  GPIO_InitStruct.Pin = col4_Pin|col3_Pin|col2_Pin|col1_Pin;
  GPIO_InitStruct.Mode = GPIO_MODE_IT_FALLING;
  GPIO_InitStruct.Pull = GPIO_PULLUP;
  HAL_GPIO_Init(GPIOA, &GPIO_InitStruct);

  /*Configure GPIO pins : fil4_Pin fil3_Pin */
  GPIO_InitStruct.Pin = fil4_Pin|fil3_Pin;
  GPIO_InitStruct.Mode = GPIO_MODE_OUTPUT_PP;
  GPIO_InitStruct.Pull = GPIO_NOPULL;
  GPIO_InitStruct.Speed = GPIO_SPEED_FREQ_LOW;
  HAL_GPIO_Init(GPIOA, &GPIO_InitStruct);

  /* EXTI interrupt init*/
  HAL_NVIC_SetPriority(EXTI1_IRQn, 8, 0);
  HAL_NVIC_EnableIRQ(EXTI1_IRQn);

  HAL_NVIC_SetPriority(EXTI9_5_IRQn, 8, 0);
  HAL_NVIC_EnableIRQ(EXTI9_5_IRQn);

  HAL_NVIC_SetPriority(EXTI15_10_IRQn, 8, 0);
  HAL_NVIC_EnableIRQ(EXTI15_10_IRQn);

}

 /**
  * @brief  Period elapsed callback in non blocking mode
  * @note   This function is called  when TIM1 interrupt took place, inside
  * HAL_TIM_IRQHandler(). It makes a direct call to HAL_IncTick() to increment
  * a global variable "uwTick" used as application time base.
  * @param  htim : TIM handle
  * @retval None
  */
void HAL_TIM_PeriodElapsedCallback(TIM_HandleTypeDef *htim)
{
  /* USER CODE BEGIN Callback 0 */
//	actuador_t acc2;
  /* USER CODE END Callback 0 */
  if (htim->Instance == TIM1) {
    HAL_IncTick();
  }
  /* USER CODE BEGIN Callback 1 */
//  if (htim->Instance == TIM2) {
//	  HAL_TIM_Base_Stop(&htim2);
//	  acc2.tipo = CIERRE; 											/* accion tipo 0:accion de usuario, accion tipo 1: alarma, accion tipo 2: accion de apagado*/
//	  BaseType_t xHigherPriorityTaskWoken = pdFALSE;
//	  xQueueSendFromISR(actuador_q, &acc2, &xHigherPriorityTaskWoken);
//	  portYIELD_FROM_ISR(xHigherPriorityTaskWoken);
//  }

  /* USER CODE END Callback 1 */
}

void Error_Handler(void)
{
  __disable_irq();
  while (1)
  {
  }
}

/************************ (C) COPYRIGHT STMicroelectronics *****END OF FILE****/
